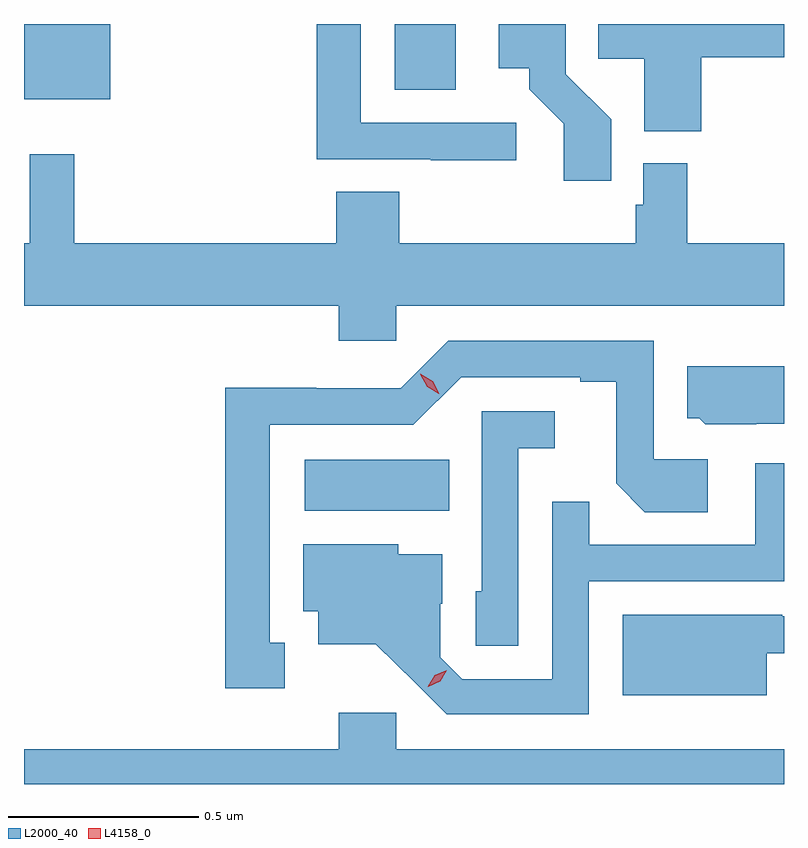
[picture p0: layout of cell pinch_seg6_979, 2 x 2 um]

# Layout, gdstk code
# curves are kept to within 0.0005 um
import gdstk
lib = gdstk.Library(unit=1e-6, precision=1e-09)
def R(c, l, rs):  # rectangles x0, y0, x1, y1
    for r in rs: c.add(gdstk.rectangle(r[:2], r[2:], *l))
def P(c, l, *ps):  # polygons
    for p in ps: c.add(gdstk.Polygon(p, *l))
L2000_40 = (2000, 40)
L4158_0 = (4158, 0)

pinch_seg6_979 = lib.new_cell('pinch_seg6_979')
R(pinch_seg6_979, L2000_40, [(354.714,933.476,355.094,933.61), (353.975,934.559,354.202,934.757), (354.95,934.584,355.111,934.757)])
P(pinch_seg6_979, L2000_40, [(355.27,934.497),(354.861,934.497),(354.861,934.757),(354.745,934.757),(354.745,934.401),(355.045,934.401),(355.045,934.399),(355.27,934.399)],
  [(355.757,934.67),(355.975,934.67),(355.975,934.757),(355.486,934.757),(355.486,934.666),(355.607,934.666),(355.607,934.475),(355.757,934.475)],
  [(355.52,934.506),(355.401,934.625),(355.401,934.757),(355.224,934.757),(355.224,934.64),(355.304,934.64),(355.304,934.585),(355.395,934.495),(355.395,934.344),(355.52,934.344)],
  [(354.954,934.016),(355.975,934.016),(355.975,934.18),(355.721,934.18),(355.721,934.39),(355.605,934.39),(355.605,934.281),(355.585,934.281),(355.585,934.18),(354.962,934.18),(354.962,934.316),(354.797,934.316),(354.797,934.18),(354.107,934.18),(354.107,934.414),(353.99,934.414),(353.99,934.18),(353.975,934.18),(353.975,934.016),(354.803,934.016),(354.803,933.923),(354.954,933.923)],
  [(354.661,933.129),(354.622,933.129),(354.622,933.702),(354.999,933.702),(355.125,933.828),(355.439,933.828),(355.439,933.816),(355.533,933.816),(355.533,933.548),(355.609,933.472),(355.774,933.472),(355.774,933.612),(355.632,933.612),(355.632,933.924),(355.092,933.924),(354.966,933.798),(354.744,933.798),(354.744,933.8),(354.504,933.8),(354.504,933.009),(354.661,933.009)],
  [(355.902,933.705),(355.975,933.705),(355.975,933.856),(355.721,933.856),(355.721,933.72),(355.752,933.72),(355.768,933.704),(355.902,933.704)],
  [(355.275,933.641),(355.372,933.641),(355.372,933.738),(355.179,933.738),(355.179,933.264),(355.164,933.264),(355.164,933.121),(355.275,933.121)],
  [(355.461,933.291),(355.975,933.291),(355.975,933.601),(355.899,933.601),(355.899,933.387),(355.463,933.387),(355.463,933.5),(355.365,933.5),(355.365,933.033),(355.128,933.033),(355.071,933.09),(355.071,933.232),(355.075,933.232),(355.075,933.361),(354.96,933.361),(354.96,933.388),(354.71,933.388),(354.71,933.212),(354.749,933.212),(354.749,933.125),(354.901,933.125),(355.088,932.94),(355.461,932.94)],
  [(355.93,933.101),(355.975,933.101),(355.975,933.198),(355.97,933.198),(355.97,933.202),(355.55,933.202),(355.55,932.99),(355.93,932.99)],
  [(353.975,932.757),(355.975,932.757),(355.975,932.848),(354.954,932.848),(354.954,932.944),(354.803,932.944),(354.803,932.848),(353.975,932.848)])
P(pinch_seg6_979, L4158_0, [(355.038,933.013),(355.038,933.013),(355.056,933.043),(355.087,933.057),(355.088,933.057),(355.088,933.057),(355.07,933.028),(355.039,933.013)],
  [(355.067,933.784),(355.036,933.803),(355.018,933.835),(355.018,933.836),(355.018,933.836),(355.05,933.817),(355.068,933.784),(355.068,933.784)])

lib.write_gds('pinch_seg6_979.gds')
